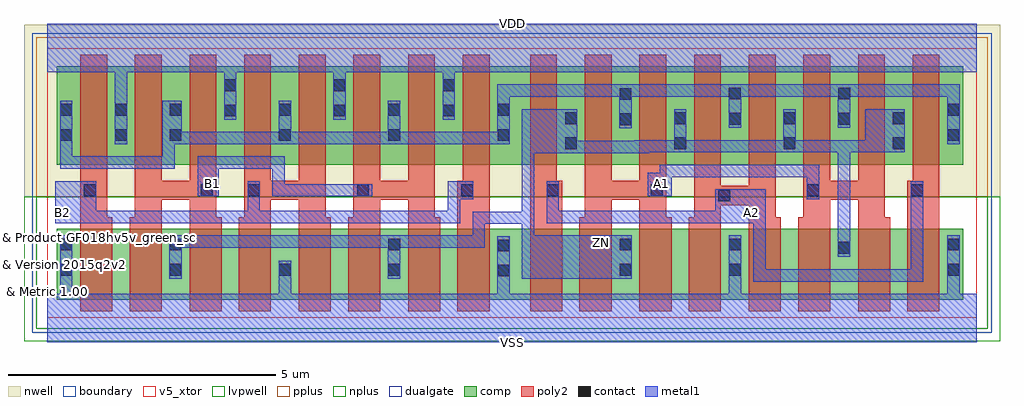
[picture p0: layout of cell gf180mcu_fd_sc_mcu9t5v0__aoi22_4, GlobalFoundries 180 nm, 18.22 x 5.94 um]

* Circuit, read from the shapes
.subckt gf180mcu_fd_sc_mcu9t5v0__aoi22_4 A1 A2 B1 B2 VDD VSS ZN
XM1 n1 B2 VSS VSUBS nfet_05v0 w=1.32u l=0.6u
XM2 ZN B1 n1 VSUBS nfet_05v0 w=1.32u l=0.6u
XM3 n2 B1 ZN VSUBS nfet_05v0 w=1.32u l=0.6u
XM4 VSS B2 n2 VSUBS nfet_05v0 w=1.32u l=0.6u
XM5 n3 B2 VSS VSUBS nfet_05v0 w=1.32u l=0.6u
XM6 ZN B1 n3 VSUBS nfet_05v0 w=1.32u l=0.6u
XM7 n4 B1 ZN VSUBS nfet_05v0 w=1.32u l=0.6u
XM8 VSS B2 n4 VSUBS nfet_05v0 w=1.32u l=0.6u
XM9 n5 A2 VSS VSUBS nfet_05v0 w=1.32u l=0.6u
XM10 ZN A1 n5 VSUBS nfet_05v0 w=1.32u l=0.6u
XM11 n6 A1 ZN VSUBS nfet_05v0 w=1.32u l=0.6u
XM12 VSS A2 n6 VSUBS nfet_05v0 w=1.32u l=0.6u
XM13 n7 A2 VSS VSUBS nfet_05v0 w=1.32u l=0.6u
XM14 ZN A1 n7 VSUBS nfet_05v0 w=1.32u l=0.6u
XM15 n8 A1 ZN VSUBS nfet_05v0 w=1.32u l=0.6u
XM16 VSS A2 n8 VSUBS nfet_05v0 w=1.32u l=0.6u
XM17 VDD B2 n9 n10 pfet_05v0 w=1.83u l=0.5u m=4
XM18 n9 B1 VDD n10 pfet_05v0 w=1.83u l=0.5u m=4
XM19 ZN A2 n9 n10 pfet_05v0 w=1.83u l=0.5u m=4
XM20 n9 A1 ZN n10 pfet_05v0 w=1.83u l=0.5u m=4
.ends

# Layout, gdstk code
import gdstk
lib = gdstk.Library(unit=1e-6, precision=1e-09)
def R(c, l, rs):  # rectangles x0, y0, x1, y1
    for r in rs: c.add(gdstk.rectangle(r[:2], r[2:], *l))
def A(c, l, x, y, w, h, nx, ny, dx, dy):  # array of equal rectangles
    R(c, l, [(x+i*dx, y+j*dy, x+i*dx+w, y+j*dy+h) for i in range(nx) for j in range(ny)])
def P(c, l, *ps):  # polygons
    for p in ps: c.add(gdstk.Polygon(p, *l))
boundary = (0, 0)
nwell = (21, 0)
comp = (22, 0)
poly2 = (30, 0)
pplus = (31, 0)
nplus = (32, 0)
contact = (33, 0)
metal1 = (34, 0)
dualgate = (55, 0)
v5_xtor = (112, 1)
lvpwell = (204, 0)

gf180mcu_fd_sc_mcu9t5v0_ = lib.new_cell('gf180mcu_fd_sc_mcu9t5v0__aoi22_4')
R(gf180mcu_fd_sc_mcu9t5v0_, boundary, [(0,0,17.36,5.04)])
R(gf180mcu_fd_sc_mcu9t5v0_, nwell, [(-0.43,2.265,17.79,5.47)])
R(gf180mcu_fd_sc_mcu9t5v0_, comp, [(0.18,0.345,17.1,1.665), (0.18,2.865,17.1,4.695)])
P(gf180mcu_fd_sc_mcu9t5v0_, poly2, [(0.62,0.125),(0.62,4.915),(1.12,4.915),(1.12,1.885),(1.22,1.885),(1.22,0.125)],
  [(1.54,0.125),(1.54,1.885),(1.64,1.885),(1.64,4.915),(2.14,4.915),(2.14,2.565),(2.66,2.565),(2.66,4.915),(3.16,4.915),(3.16,1.885),(3.26,1.885),(3.26,0.125),(2.66,0.125),(2.66,2.205),(2.14,2.205),(2.14,0.125)],
  [(3.58,0.125),(3.58,1.885),(3.68,1.885),(3.68,4.915),(4.18,4.915),(4.18,2.565),(4.7,2.565),(4.7,4.915),(5.2,4.915),(5.2,1.885),(5.3,1.885),(5.3,0.125),(4.7,0.125),(4.7,2.205),(4.18,2.205),(4.18,0.125)],
  [(5.62,0.125),(5.62,1.885),(5.72,1.885),(5.72,4.915),(6.22,4.915),(6.22,2.565),(6.74,2.565),(6.74,4.915),(7.24,4.915),(7.24,1.885),(7.34,1.885),(7.34,0.125),(6.74,0.125),(6.74,2.205),(6.22,2.205),(6.22,0.125)],
  [(7.66,0.125),(7.66,2.565),(7.76,2.565),(7.76,4.915),(8.26,4.915),(8.26,0.125)],
  [(9.02,0.125),(9.02,4.915),(9.52,4.915),(9.52,2.565),(9.62,2.565),(9.62,0.125)],
  [(9.94,0.125),(9.94,1.885),(10.04,1.885),(10.04,4.915),(10.54,4.915),(10.54,2.565),(11.06,2.565),(11.06,4.915),(11.56,4.915),(11.56,1.885),(11.66,1.885),(11.66,0.125),(11.06,0.125),(11.06,2.205),(10.54,2.205),(10.54,0.125)],
  [(11.98,0.125),(11.98,1.885),(12.08,1.885),(12.08,4.915),(12.58,4.915),(12.58,2.465),(13.1,2.465),(13.1,4.915),(13.6,4.915),(13.6,1.885),(13.7,1.885),(13.7,0.125),(13.1,0.125),(13.1,2.105),(12.58,2.105),(12.58,0.125)],
  [(14.02,0.125),(14.02,1.885),(14.12,1.885),(14.12,4.915),(14.62,4.915),(14.62,2.565),(15.14,2.565),(15.14,4.915),(15.64,4.915),(15.64,1.885),(15.74,1.885),(15.74,0.125),(15.14,0.125),(15.14,2.205),(14.62,2.205),(14.62,0.125)],
  [(16.06,0.125),(16.06,2.565),(16.16,2.565),(16.16,4.915),(16.66,4.915),(16.66,0.125)])
R(gf180mcu_fd_sc_mcu9t5v0_, pplus, [(-0.2,2.265,17.56,5.24)])
R(gf180mcu_fd_sc_mcu9t5v0_, nplus, [(-0.2,-0.2,17.56,2.265)])
A(gf180mcu_fd_sc_mcu9t5v0_, contact, 0.25, 0.79, 0.22, 0.22, 4, 1, 2.04, 0)
A(gf180mcu_fd_sc_mcu9t5v0_, contact, 9.67, 3.15, 0.22, 0.22, 4, 2, 2.04, 0.47)
A(gf180mcu_fd_sc_mcu9t5v0_, contact, 0.25, 3.305, 0.22, 0.22, 3, 2, 1.02, 0.47)
A(gf180mcu_fd_sc_mcu9t5v0_, contact, 4.33, 3.305, 0.22, 0.22, 3, 2, 2.04, 0.47)
A(gf180mcu_fd_sc_mcu9t5v0_, contact, 3.31, 3.765, 0.22, 0.22, 3, 2, 2.04, 0.47)
R(gf180mcu_fd_sc_mcu9t5v0_, contact, [(8.41,0.775,8.63,0.995), (10.69,0.79,10.91,1.01), (12.73,0.79,12.95,1.01), (16.81,0.79,17.03,1.01), (14.77,1.2,14.99,1.42), (8.41,1.245,8.63,1.465), (0.25,1.26,0.47,1.48), (2.29,1.26,2.51,1.48), (6.37,1.26,6.59,1.48), (10.69,1.26,10.91,1.48), (12.73,1.26,12.95,1.48), (16.81,1.26,17.03,1.48), (12.53,2.175,12.75,2.395), (0.69,2.275,0.91,2.495), (2.87,2.275,3.09,2.495), (3.75,2.275,3.97,2.495), (5.79,2.275,6.01,2.495), (7.73,2.275,7.95,2.495), (9.33,2.275,9.55,2.495), (11.27,2.275,11.49,2.495), (14.19,2.275,14.41,2.495), (16.13,2.275,16.35,2.495), (16.81,3.305,17.03,3.525), (10.69,3.6,10.91,3.82), (12.73,3.61,12.95,3.83), (14.77,3.61,14.99,3.83), (16.81,3.775,17.03,3.995), (10.69,4.07,10.91,4.29), (12.73,4.08,12.95,4.3), (14.77,4.08,14.99,4.3)])
P(gf180mcu_fd_sc_mcu9t5v0_, metal1, [(2.81,2.27),(2.81,3.015),(4.435,3.015),(4.435,2.5),(6.07,2.5),(6.07,2.27),(4.205,2.27),(4.205,2.785),(3.21,2.785),(3.21,2.27)],
  [(0.15,1.77),(0.15,2.555),(0.915,2.555),(0.915,2),(3.745,2),(3.745,2.555),(3.975,2.555),(3.975,2),(7.485,2),(7.485,2.555),(7.955,2.555),(7.955,2.215),(7.715,2.215),(7.715,1.77)],
  [(14.185,2.215),(14.185,2.63),(11.66,2.63),(11.66,2.27),(11.21,2.27),(11.21,2.71),(11.44,2.71),(11.44,2.86),(14.415,2.86),(14.415,2.215)],
  [(2.285,0.73),(2.285,1.54),(7.945,1.54),(7.945,1.985),(8.865,1.985),(8.865,3.9),(9.895,3.9),(9.895,3.31),(10.965,3.31),(10.965,3.315),(11.195,3.315),(11.195,3.32),(11.705,3.32),(11.705,3.9),(11.935,3.9),(11.935,3.32),(13.745,3.32),(13.745,3.9),(13.975,3.9),(13.975,3.32),(15.27,3.32),(15.27,3.9),(16.015,3.9),(16.015,3.09),(14.995,3.09),(14.995,1.14),(14.765,1.14),(14.765,3.09),(11.245,3.09),(11.245,3.08),(9.095,3.08),(9.095,1.54),(10.915,1.54),(10.915,0.73),(8.865,0.73),(8.865,1.755),(8.175,1.755),(8.175,1.31),(6.595,1.31),(6.595,0.73),(6.365,0.73),(6.365,1.31),(2.515,1.31),(2.515,0.73)],
  [(13.185,0.68),(13.185,1.77),(9.325,1.77),(9.325,2.555),(9.555,2.555),(9.555,2),(12.47,2),(12.47,2.4),(13.415,2.4),(13.415,0.91),(16.125,0.91),(16.125,2.555),(16.355,2.555),(16.355,0.68)],
  [(0.245,2.785),(0.245,4.055),(0.475,4.055),(0.475,3.015),(2.15,3.015),(2.15,4.055),(2.515,4.055),(2.515,3.475),(4.325,3.475),(4.325,4.055),(4.555,4.055),(4.555,3.475),(6.365,3.475),(6.365,4.055),(6.595,4.055),(6.595,3.475),(8.405,3.475),(8.405,4.36),(17.035,4.36),(17.035,3.245),(16.805,3.245),(16.805,4.13),(14.995,4.13),(14.995,3.55),(14.765,3.55),(14.765,4.13),(12.955,4.13),(12.955,3.55),(12.725,3.55),(12.725,4.13),(10.915,4.13),(10.915,3.54),(10.685,3.54),(10.685,4.13),(8.635,4.13),(8.635,3.245),(2.38,3.245),(2.38,2.785)],
  [(0,-0.45),(0,0.45),(0.245,0.45),(0.245,1.54),(0.475,1.54),(0.475,0.45),(4.325,0.45),(4.325,1.07),(4.555,1.07),(4.555,0.45),(8.405,0.45),(8.405,1.525),(8.635,1.525),(8.635,0.45),(12.725,0.45),(12.725,1.54),(12.955,1.54),(12.955,0.45),(16.805,0.45),(16.805,1.54),(17.035,1.54),(17.035,0.45),(17.36,0.45),(17.36,-0.45)],
  [(1.265,3.245),(1.265,4.59),(0,4.59),(0,5.49),(17.36,5.49),(17.36,4.59),(7.615,4.59),(7.615,3.705),(7.385,3.705),(7.385,4.59),(5.575,4.59),(5.575,3.705),(5.345,3.705),(5.345,4.59),(3.535,4.59),(3.535,3.705),(3.305,3.705),(3.305,4.59),(1.495,4.59),(1.495,3.245)])
R(gf180mcu_fd_sc_mcu9t5v0_, dualgate, [(-0.28,-0.28,17.64,5.32)])
R(gf180mcu_fd_sc_mcu9t5v0_, v5_xtor, [(0,0,17.36,5.04)])
R(gf180mcu_fd_sc_mcu9t5v0_, lvpwell, [(-0.43,-0.43,17.79,2.265)])
gf180mcu_fd_sc_mcu9t5v0_.add(gdstk.Label('A1', (11.48,2.52), layer=34, texttype=10))
gf180mcu_fd_sc_mcu9t5v0_.add(gdstk.Label('A2', (13.16,1.96), layer=34, texttype=10))
gf180mcu_fd_sc_mcu9t5v0_.add(gdstk.Label('B1', (3.08,2.52), layer=34, texttype=10))
gf180mcu_fd_sc_mcu9t5v0_.add(gdstk.Label('B2', (0.28,1.96), layer=34, texttype=10))
gf180mcu_fd_sc_mcu9t5v0_.add(gdstk.Label('VDD', (8.68,5.49), layer=34, texttype=10))
gf180mcu_fd_sc_mcu9t5v0_.add(gdstk.Label('VSS', (8.68,-0.45), layer=34, texttype=10))
gf180mcu_fd_sc_mcu9t5v0_.add(gdstk.Label('ZN', (10.36,1.4), layer=34, texttype=10))
gf180mcu_fd_sc_mcu9t5v0_.add(gdstk.Label('& Vendor GLOBALFOUNDRIES', (0,2), layer=63, texttype=63))
gf180mcu_fd_sc_mcu9t5v0_.add(gdstk.Label('& Product GF018hv5v_green_sc9', (0,1.5), layer=63, texttype=63))
gf180mcu_fd_sc_mcu9t5v0_.add(gdstk.Label('& Version 2015q2v2', (0,1), layer=63, texttype=63))
gf180mcu_fd_sc_mcu9t5v0_.add(gdstk.Label('& Metric 1.00', (0,0.5), layer=63, texttype=63))

lib.write_gds('gf180mcu_fd_sc_mcu9t5v0__aoi22_4.gds')
